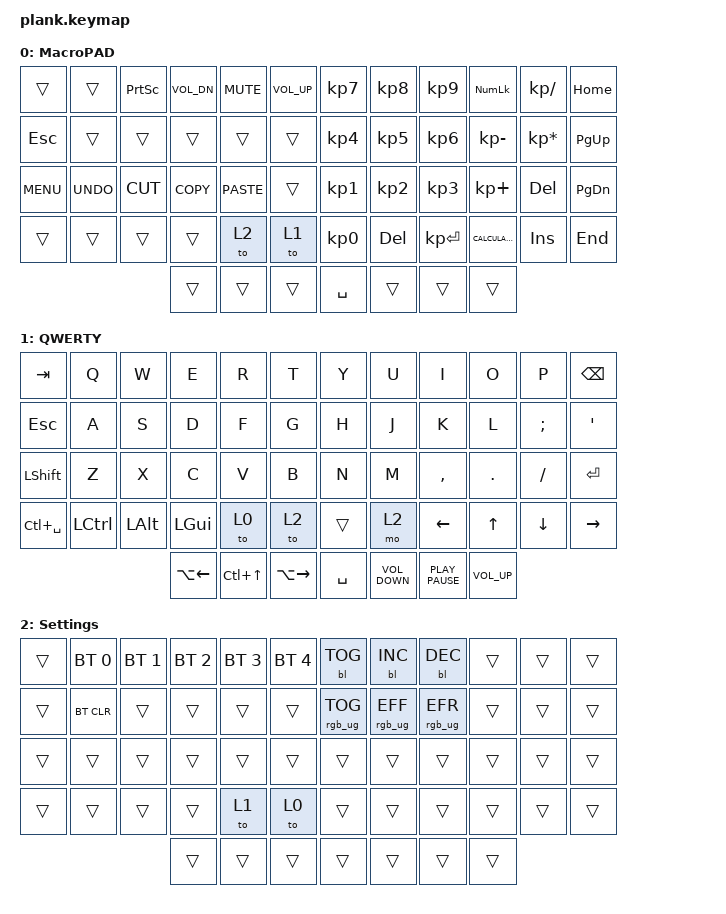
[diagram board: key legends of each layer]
#include <behaviors.dtsi>
#include <dt-bindings/zmk/backlight.h>
#include <dt-bindings/zmk/bt.h>
#include <dt-bindings/zmk/keys.h>
#include <dt-bindings/zmk/rgb.h>

&led_strip {
    chain-length = <49>;

    // chain-length = <49>;
    // 49 backlight
};

#define TAPPING_TERM 200

/ {
    conditional_layers {
        compatible = "zmk,conditional-layers";

        Activate_EXT {
            if-layers = <2 2>;
            then-layer = <0>;
        };
    };

    combos {
        compatible = "zmk,combos";

        Clear_BLE_Profile {
            bindings = <&bt BT_CLR>;
            key-positions = <0 38 5>;
        };

        Space {
            bindings = <&kp SPACE>;
            key-positions = <29 28>;
        };

        Enter {
            bindings = <&kp ENTER>;
            key-positions = <17 16>;
        };

        Capslock {
            bindings = <&kp CLCK>;
            key-positions = <5 6>;
        };
    };

    macros {
        git_status: git_status {
            compatible = "zmk,behavior-macro";
            #binding-cells = <0>;
            bindings = <&kp G &kp I &kp T &kp SPACE &kp S &kp T &kp A &kp T &kp U &kp S>;
            label = "GIT_STATUS";
        };

        git_commit_all: git_commit_all {
            compatible = "zmk,behavior-macro";
            #binding-cells = <0>;
            bindings = <&kp G &kp I &kp T &kp SPACE &kp C &kp O &kp M &kp M &kp I &kp T &kp SPACE &kp MINUS &kp A &kp MINUS &kp M &kp SPACE &kp DQT &kp DQT &kp LEFT_ARROW>;
            label = "GIT_COMMIT";
        };
    };

    keymap {
        compatible = "zmk,keymap";
        display-name = "Plank";

        macropad {
            bindings = <
&trans      &trans      &kp PRINTSCREEN  &kp C_VOL_DN  &kp C_MUTE   &kp C_VOLUME_UP                 &kp KP_NUMBER_7  &kp KP_NUMBER_8  &kp KP_NUMBER_9  &kp KP_NUMLOCK    &kp KP_DIVIDE    &kp HOME
&kp ESCAPE  &trans      &trans           &trans        &trans       &trans                          &kp KP_NUMBER_4  &kp KP_NUMBER_5  &kp KP_NUMBER_6  &kp KP_MINUS      &kp KP_MULTIPLY  &kp PG_UP
&kp K_MENU  &kp K_UNDO  &kp K_CUT        &kp K_COPY    &kp K_PASTE  &trans                          &kp KP_NUMBER_1  &kp KP_NUMBER_2  &kp KP_NUMBER_3  &kp KP_PLUS       &kp DELETE       &kp PAGE_DOWN
&trans      &trans      &trans           &trans        &to 2        &to 1                           &kp KP_NUMBER_0  &kp DELETE       &kp KP_ENTER     &kp K_CALCULATOR  &kp INS          &kp END
                                         &trans        &trans       &trans             &kp SPACE    &trans           &trans           &trans
            >;

            label = "MacroPAD";
        };

        base {
            bindings = <
&kp TAB        &kp Q      &kp W     &kp E         &kp R             &kp T                         &kp Y              &kp U             &kp I            &kp O    &kp P     &kp BSPC
&kp ESC        &kp A      &kp S     &kp D         &kp F             &kp G                         &kp H              &kp J             &kp K            &kp L    &kp SEMI  &kp APOS
&kp LSHFT      &kp Z      &kp X     &kp C         &kp V             &kp B                         &kp N              &kp M             &kp COMMA        &kp DOT  &kp FSLH  &kp ENTER
&kp LC(SPACE)  &kp LCTRL  &kp LALT  &kp LGUI      &to 0             &to 2                         &trans             &mo 2             &kp LEFT         &kp UP   &kp DOWN  &kp RIGHT
                                    &kp LA(LEFT)  &kp LC(UP_ARROW)  &kp LA(RIGHT)    &kp SPACE    &kp C_VOLUME_DOWN  &kp K_PLAY_PAUSE  &kp C_VOLUME_UP
            >;

            label = "QWERTY";
        };

        settings {
            bindings = <
&trans  &bt BT_SEL 0  &bt BT_SEL 1  &bt BT_SEL 2  &bt BT_SEL 3  &bt BT_SEL 4              &bl BL_TOG       &bl BL_INC       &bl BL_DEC       &trans  &trans  &trans
&trans  &bt BT_CLR    &trans        &trans        &trans        &trans                    &rgb_ug RGB_TOG  &rgb_ug RGB_EFF  &rgb_ug RGB_EFR  &trans  &trans  &trans
&trans  &trans        &trans        &trans        &trans        &trans                    &trans           &trans           &trans           &trans  &trans  &trans
&trans  &trans        &trans        &trans        &to 1         &to 0                     &trans           &trans           &trans           &trans  &trans  &trans
                                    &trans        &trans        &trans          &trans    &trans           &trans           &trans
            >;

            label = "Settings";
        };
    };
};
